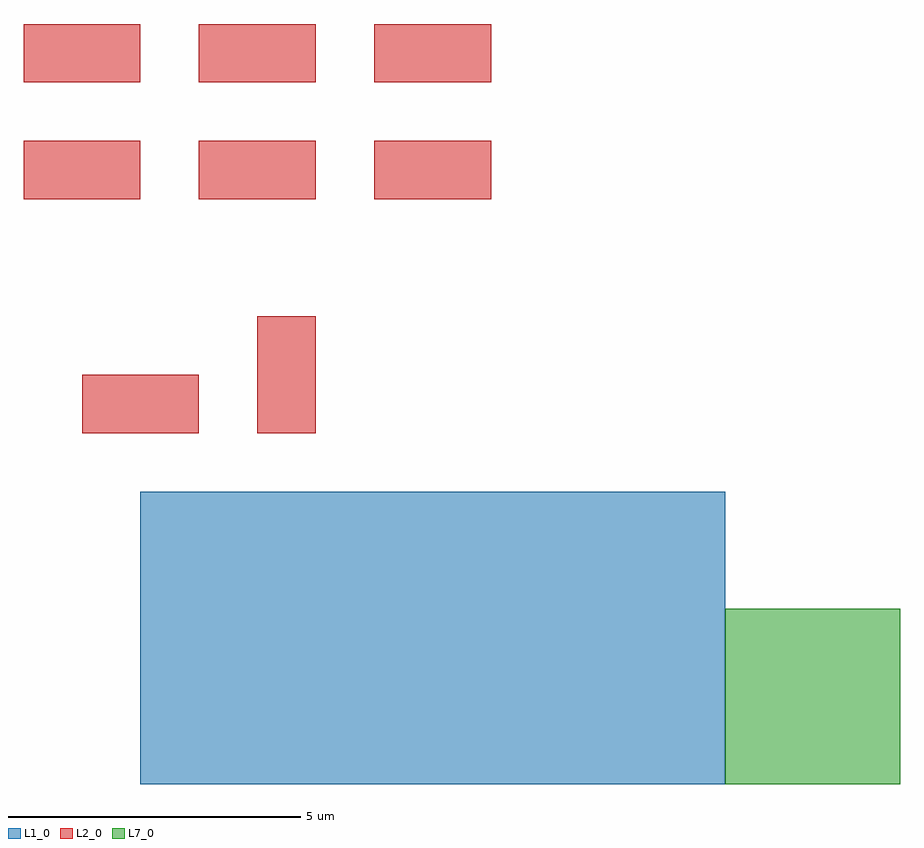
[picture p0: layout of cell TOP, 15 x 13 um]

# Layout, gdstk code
from math import pi, radians
import gdstk
lib = gdstk.Library(unit=1e-6, precision=1e-09)
def R(c, l, rs):  # rectangles x0, y0, x1, y1
    for r in rs: c.add(gdstk.rectangle(r[:2], r[2:], *l))
L1_0 = (1, 0)
L2_0 = (2, 0)
L7_0 = (7, 0)

child = lib.new_cell('CHILD')
R(child, L2_0, [(0,0,2,1)])

top = lib.new_cell('TOP')
R(top, L1_0, [(2,0,12,5)])
R(top, L7_0, [(12,0,15,3)])
top.add(gdstk.Reference(child, (1,6)))
top.add(gdstk.Reference(child, (5,6), rotation=pi/2))
r = gdstk.Reference(child, (0,10)); r.repetition = gdstk.Repetition(3, 2, v1=(3,0), v2=(0,2)); top.add(r)

lib.write_gds('TOP.gds')
